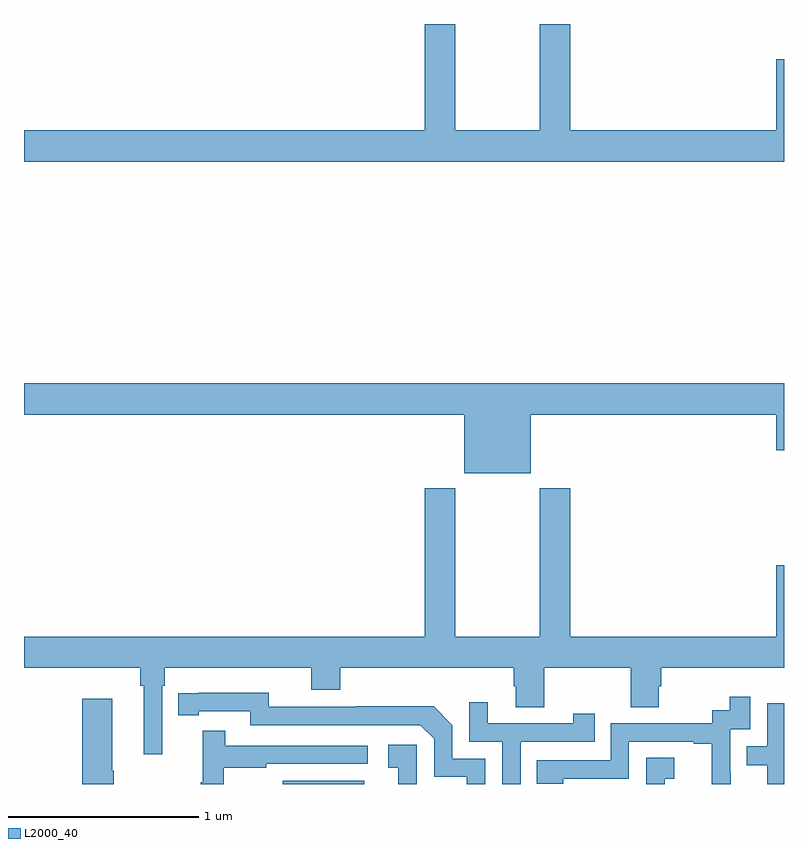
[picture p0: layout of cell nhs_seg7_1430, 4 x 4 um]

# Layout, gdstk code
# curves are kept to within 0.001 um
import gdstk
lib = gdstk.Library(unit=1e-6, precision=1e-09)
def R(c, l, rs):  # rectangles x0, y0, x1, y1
    for r in rs: c.add(gdstk.rectangle(r[:2], r[2:], *l))
def P(c, l, *ps):  # polygons
    for p in ps: c.add(gdstk.Polygon(p, *l))
L2000_40 = (2000, 40)

nhs_seg7_1430 = lib.new_cell('nhs_seg7_1430')
R(nhs_seg7_1430, L2000_40, [(210.363,1004,210.79,1004.017)])
P(nhs_seg7_1430, L2000_40, [(213,1007.815),(212.96,1007.815),(212.96,1007.44),(211.874,1007.44),(211.874,1008),(211.714,1008),(211.714,1007.44),(211.269,1007.44),(211.269,1008),(211.109,1008),(211.109,1007.44),(209,1007.44),(209,1007.276),(213,1007.276)],
  [(211.666,1005.944),(212.96,1005.944),(212.96,1005.756),(213,1005.756),(213,1006.108),(209,1006.108),(209,1005.944),(211.316,1005.944),(211.316,1005.635),(211.666,1005.635)],
  [(209.727,1004.516),(209.741,1004.516),(209.741,1004.612),(210.512,1004.612),(210.512,1004.495),(210.665,1004.495),(210.665,1004.612),(211.577,1004.612),(211.577,1004.514),(211.589,1004.514),(211.589,1004.404),(211.737,1004.404),(211.737,1004.612),(212.194,1004.612),(212.194,1004.404),(212.341,1004.404),(212.341,1004.514),(212.354,1004.514),(212.354,1004.612),(213,1004.612),(213,1005.151),(212.96,1005.151),(212.96,1004.776),(211.874,1004.776),(211.874,1005.556),(211.714,1005.556),(211.714,1004.776),(211.269,1004.776),(211.269,1005.556),(211.109,1005.556),(211.109,1004.776),(209,1004.776),(209,1004.612),(209.611,1004.612),(209.611,1004.516),(209.63,1004.516),(209.63,1004.157),(209.727,1004.157)],
  [(211.428,1004.133),(211.254,1004.133),(211.254,1004.31),(211.156,1004.408),(210.748,1004.408),(210.748,1004.406),(210.288,1004.406),(210.288,1004.479),(209.812,1004.478),(209.812,1004.362),(209.92,1004.362),(209.92,1004.382),(210.192,1004.382),(210.192,1004.31),(211.086,1004.31),(211.158,1004.238),(211.158,1004.037),(211.331,1004.037),(211.331,1004),(211.428,1004)],
  [(212.72,1004.06),(212.718,1004.06),(212.718,1004.289),(212.823,1004.289),(212.823,1004.458),(212.715,1004.458),(212.715,1004.388),(212.622,1004.388),(212.622,1004.319),(212.088,1004.319),(212.088,1004.124),(211.699,1004.124),(211.699,1004.001),(211.839,1004.001),(211.839,1004.028),(212.184,1004.028),(212.184,1004.223),(212.525,1004.223),(212.525,1004.211),(212.621,1004.211),(212.621,1004),(212.72,1004)],
  [(209.472,1004.069),(209.464,1004.069),(209.464,1004.449),(209.306,1004.449),(209.306,1004),(209.472,1004)],
  [(211.614,1004.223),(212.003,1004.223),(212.003,1004.371),(211.892,1004.371),(211.892,1004.319),(211.441,1004.319),(211.441,1004.431),(211.344,1004.431),(211.344,1004.223),(211.518,1004.223),(211.518,1004),(211.614,1004)],
  [(213,1004.424),(212.913,1004.424),(212.913,1004.199),(212.803,1004.199),(212.803,1004.098),(212.913,1004.098),(212.913,1004),(213,1004)],
  [(210.052,1004.086),(210.275,1004.086),(210.275,1004.106),(210.808,1004.106),(210.808,1004.202),(210.059,1004.202),(210.059,1004.281),(209.942,1004.281),(209.942,1004.009),(209.931,1004.009),(209.931,1004),(210.052,1004)],
  [(211.068,1004.206),(210.918,1004.206),(210.918,1004.085),(210.971,1004.085),(210.971,1004),(211.068,1004)],
  [(212.373,1004.027),(212.422,1004.027),(212.422,1004.137),(212.274,1004.137),(212.274,1004),(212.373,1004)])

lib.write_gds('nhs_seg7_1430.gds')
